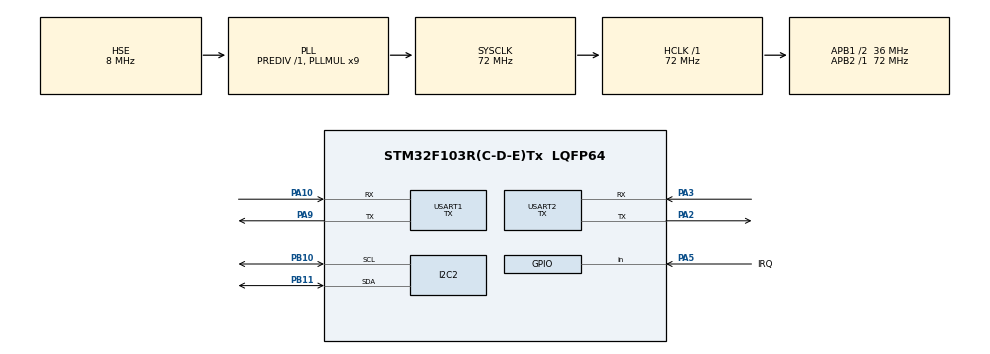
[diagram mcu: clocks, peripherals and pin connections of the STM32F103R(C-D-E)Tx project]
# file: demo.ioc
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I2C2.I2C_Mode=I2C_Standard
I2C2.NoStretchMode=I2C_NOSTRETCH_DISABLE
Mcu.Family=STM32F1
Mcu.Name=STM32F103R(C-D-E)Tx
Mcu.Package=LQFP64
NVIC.PriorityGroup=NVIC_PRIORITYGROUP_4
PA10.Mode=Asynchronous
PA10.Signal=USART1_RX
PA13.Mode=Serial_Wire
PA13.Signal=SYS_JTMS-SWDIO
PA14.Mode=Serial_Wire
PA14.Signal=SYS_JTCK-SWCLK
PA2.Mode=Asynchronous
PA2.Signal=USART2_TX
PA3.Mode=Asynchronous
PA3.Signal=USART2_RX
PA5.GPIO_Label=IRQ
PA5.GPIO_PuPd=GPIO_PULLUP
PA5.Signal=GPIO_Input
PA9.Mode=Asynchronous
PA9.Signal=USART1_TX
PB10.Mode=I2C
PB10.Signal=I2C2_SCL
PB11.Mode=I2C
PB11.Signal=I2C2_SDA
PD0-OSC_IN.Mode=HSE-External-Oscillator
PD0-OSC_IN.Signal=RCC_OSC_IN
PD1-OSC_OUT.Mode=HSE-External-Oscillator
PD1-OSC_OUT.Signal=RCC_OSC_OUT
ProjectManager.HeapSize=0x200
ProjectManager.StackSize=0x400
ProjectManager.TargetToolchain=MDK-ARM V5
RCC.AHBFreq_Value=72000000
RCC.APB1CLKDivider=RCC_HCLK_DIV2
RCC.APB1Freq_Value=36000000
RCC.APB1TimFreq_Value=72000000
RCC.APB2Freq_Value=72000000
RCC.APB2TimFreq_Value=72000000
RCC.HCLKFreq_Value=72000000
RCC.PLLMUL=RCC_PLL_MUL9
RCC.PLLSourceVirtual=RCC_PLLSOURCE_HSE
RCC.SYSCLKFreq_VALUE=72000000
RCC.SYSCLKSource=RCC_SYSCLKSOURCE_PLLCLK
RCC.USBFreq_Value=72000000
USART1.Mode=MODE_TX
USART1.VirtualMode=VM_ASYNC
USART2.Mode=MODE_TX
USART2.VirtualMode=VM_ASYNC
board=custom

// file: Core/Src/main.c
/* USER CODE BEGIN Header */
/**
 ******************************************************************************
 * @file           : main.c
 * @brief          : Main program body
 ******************************************************************************
 * @attention
 *
 * <h2><center>&copy; Copyright (c) 2022 STMicroelectronics.
 * All rights reserved.</center></h2>
 *
 * This software component is licensed by ST under BSD 3-Clause license,
 * the "License"; You may not use this file except in compliance with the
 * License. You may obtain a copy of the License at:
 *                        opensource.org/licenses/BSD-3-Clause
 *
 ******************************************************************************
 */
/* USER CODE END Header */

#include "main.h"
#include "gpio.h"
#include "i2c.h"
#include "usart.h"

/* USER CODE BEGIN Includes */
#include "APDS9960/apds9960.h"

/* USER CODE END Includes */

void SystemClock_Config(void);

/* USER CODE BEGIN 0 */
void color_sensor() {  // 颜色
    APDS9960_Init();
    // enable color sensign mode
    APDS9960_EnableColor(1);
    while (1) {
        while (!APDS9960_ColorDataReady())
            HAL_Delay(5);
        uint16_t r, g, b, c;
        APDS9960_GetColorData(&r, &g, &b, &c);
        printf("r=%d\tg=%d\tb=%d\tc=%d\t\r\n", r, g, b, c);
        HAL_Delay(300);
    }
}

void gesture_sensor() {  // 手势
    APDS9960_Init();
    // gesture mode will be entered once proximity mode senses something close
    APDS9960_EnableProximity(1);
    APDS9960_EnableGesture(1);
    while (1) {
        // read a gesture from the device
        uint8_t gesture = APDS9960_ReadGesture();
        // 手部距离传感器几厘米，缓慢移动手臂，还是能识别的，但效果也就那样
        switch (gesture) {
            case APDS9960_DOWN: printf("v\r\n"); break;
            case APDS9960_UP: printf("^\r\n"); break;
            case APDS9960_LEFT: printf("<\r\n"); break;
            case APDS9960_RIGHT: printf(">\r\n"); break;
            default: break;
        }
    }
}

void proximity_sensor() {  // 脉搏
    APDS9960_Init();
    // enable proximity mode
    APDS9960_EnableProximity(1);
    // set the interrupt threshold to fire when proximity reading goes above 175
    APDS9960_SetProximityInterruptThreshold(0, 175, 4);
    // enable the proximity interrupt
    APDS9960_EnableProximityInterrupt();
    while (1) {
        // print the proximity reading when the interrupt pin goes low
        if (HAL_GPIO_ReadPin(IRQ_GPIO_Port, IRQ_Pin) == GPIO_PIN_RESET) {
            // 读出的值*10倍，方便观察波形（使用上位机 vofa+ 查看波形）
            // 注：测得时候手指和需要传感器有个5毫米的距离
            printf("%d\r\n", APDS9960_ReadProximity() * 10);
            // clear the interrupt
            APDS9960_ClearInterrupt();
        }
    }
}
/* USER CODE END 0 */

int main(void) {

    /* MCU Configuration--------------------------------------------------------*/

    /* Reset of all peripherals, Initializes the Flash interface and the Systick. */
    HAL_Init();

    /* Configure the system clock */
    SystemClock_Config();

    /* Initialize all configured peripherals */
    MX_GPIO_Init();
    MX_I2C2_Init();
    MX_USART2_UART_Init();
    MX_USART1_UART_Init();

    /* Infinite loop */
    /* USER CODE BEGIN WHILE */
    // color_sensor();
    gesture_sensor();
    // proximity_sensor();
    while (1) {
        /* USER CODE END WHILE */

    }
}

void SystemClock_Config(void) {
    RCC_OscInitTypeDef RCC_OscInitStruct = {0};
    RCC_ClkInitTypeDef RCC_ClkInitStruct = {0};

    /** Initializes the CPU, AHB and APB busses clocks
     */
    RCC_OscInitStruct.OscillatorType = RCC_OSCILLATORTYPE_HSE;
    RCC_OscInitStruct.HSEState       = RCC_HSE_ON;
    RCC_OscInitStruct.HSEPredivValue = RCC_HSE_PREDIV_DIV1;
    RCC_OscInitStruct.HSIState       = RCC_HSI_ON;
    RCC_OscInitStruct.PLL.PLLState   = RCC_PLL_ON;
    RCC_OscInitStruct.PLL.PLLSource  = RCC_PLLSOURCE_HSE;
    RCC_OscInitStruct.PLL.PLLMUL     = RCC_PLL_MUL9;
    if (HAL_RCC_OscConfig(&RCC_OscInitStruct) != HAL_OK) {
        Error_Handler();
    }
    /** Initializes the CPU, AHB and APB busses clocks
     */
    RCC_ClkInitStruct.ClockType      = RCC_CLOCKTYPE_HCLK | RCC_CLOCKTYPE_SYSCLK | RCC_CLOCKTYPE_PCLK1 | RCC_CLOCKTYPE_PCLK2;
    RCC_ClkInitStruct.SYSCLKSource   = RCC_SYSCLKSOURCE_PLLCLK;
    RCC_ClkInitStruct.AHBCLKDivider  = RCC_SYSCLK_DIV1;
    RCC_ClkInitStruct.APB1CLKDivider = RCC_HCLK_DIV2;
    RCC_ClkInitStruct.APB2CLKDivider = RCC_HCLK_DIV1;

    if (HAL_RCC_ClockConfig(&RCC_ClkInitStruct, FLASH_LATENCY_2) != HAL_OK) {
        Error_Handler();
    }
}

void Error_Handler(void) {
}

/************************ (C) COPYRIGHT STMicroelectronics *****END OF FILE****/
